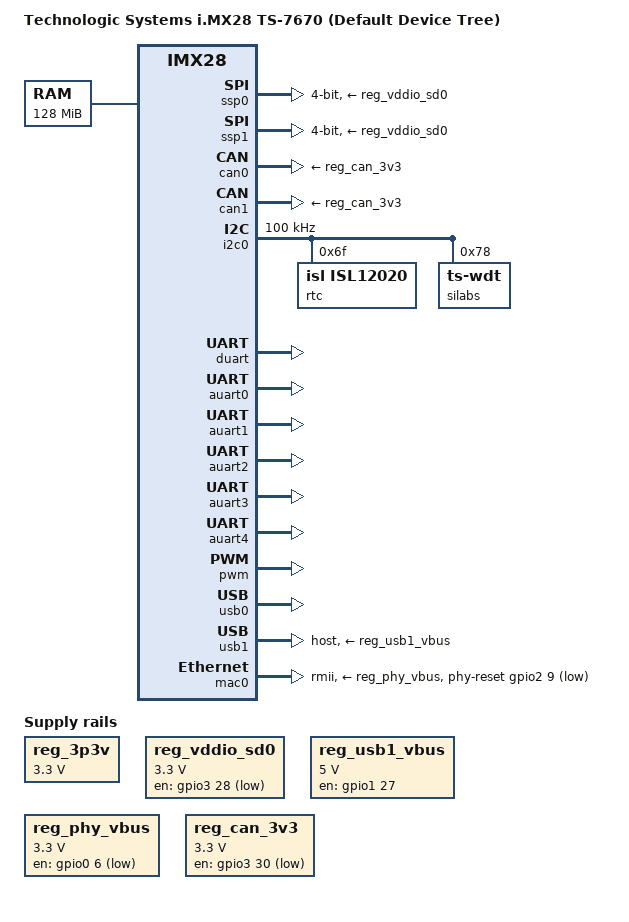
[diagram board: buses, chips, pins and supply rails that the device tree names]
/*
 * Copyright (C) 2012 Marek Vasut <marex@denx.de>
 *
 * The code contained herein is licensed under the GNU General Public
 * License. You may obtain a copy of the GNU General Public License
 * Version 2 or later at the following locations:
 *
 * http://www.opensource.org/licenses/gpl-license.html
 * http://www.gnu.org/copyleft/gpl.html
 */

/dts-v1/;
#include "imx28.dtsi"
#include "dt-bindings/gpio/gpio.h"
#include <dt-bindings/interrupt-controller/irq.h>

/ {

	model = "Technologic Systems i.MX28 TS-7670 (Default Device Tree)";
	compatible = "fsl,imx28-ts7670", "fsl,imx28";

   aliases {
      mmc0 = &ssp0;
      mmc2 = &ssp1;
      i2c0 = &i2c0;
      i2c1 = &i2c1_gpio;
      can0 = &can0;
      can1 = &can1;
   };

	memory {
		reg = <0x40000000 0x08000000>;   /* 128MB */
	};

	apb@80000000 {
		apbh@80000000 {
		
			ssp0: ssp@80010000 {
				compatible = "fsl,imx28-mmc";
				pinctrl-names = "default";
				pinctrl-0 = <&mmc0_4bit_pins_ts7670
					     &mmc0_sck_cfg
					     &en_sd_pwr>;
				broken-cd = <1>;	     
				bus-width = <4>;
				vmmc-supply = <&reg_vddio_sd0>;
				status = "okay";
			};

			ssp1: ssp@80012000 {      // For EMCC on SSP1
				compatible = "fsl,imx28-mmc";
				pinctrl-names = "default";
				pinctrl-0 = <&mmc1_4bit_pins
					     &en_sd_pwr>;
				broken-cd = <1>;	     
				bus-width = <4>;
				vmmc-supply = <&reg_vddio_sd0>;
				status = "okay";
			};
						
			
			pinctrl@80018000 {
				pinctrl-names = "default";
				
				en_sd_pwr: en_sd_pwr {
				   fsl,pinmux-ids = <
				      MX28_PAD_PWM3__GPIO_3_28   // EN_SD_POWER#
				   >;
				   fsl,drive-strength = <MXS_DRIVE_4mA>;
					fsl,voltage = <MXS_VOLTAGE_HIGH>;
					fsl,pull-up = <MXS_PULL_DISABLE>;				   
				};

				mmc0_4bit_pins_ts7670: mmc0-4bit@0 {
					reg = <0>;
					fsl,pinmux-ids = <
						MX28_PAD_SSP0_DATA0__SSP0_D0     // SD_D0
						MX28_PAD_SSP0_DATA1__SSP0_D1     // SD_D1
						MX28_PAD_SSP0_DATA2__SSP0_D2     // SD_D2
						MX28_PAD_SSP0_DATA3__SSP0_D3     // SD_D3
						MX28_PAD_SSP0_CMD__SSP0_CMD      // SD_CMD						
						MX28_PAD_SSP0_SCK__SSP0_SCK      // SD_CLK
					>;
					fsl,drive-strength = <MXS_DRIVE_8mA>;
					fsl,voltage = <MXS_VOLTAGE_HIGH>;
					fsl,pull-up = <MXS_PULL_ENABLE>;
				};

				mmc1_4bit_pins: mmc1-4bit@0 {
					reg = <0>;
					fsl,pinmux-ids = <
						MX28_PAD_GPMI_WRN__SSP1_SCK      // EMMC_CLK
						MX28_PAD_GPMI_RDY1__SSP1_CMD     // EMMC_CMD 
						MX28_PAD_GPMI_D00__SSP1_D0       // EMMC_D0
						MX28_PAD_GPMI_D01__SSP1_D1       // EMMC_D1
						MX28_PAD_GPMI_D02__SSP1_D2       // EMMC_d2
						MX28_PAD_GPMI_D03__SSP1_D3       // EMMC_D3
					>;
					fsl,drive-strength = <MXS_DRIVE_8mA>;
					fsl,voltage = <MXS_VOLTAGE_HIGH>;
					fsl,pull-up = <MXS_PULL_ENABLE>;
				};
				

				mmc_sck_cfg: mmc-sck-cfg {
					fsl,pinmux-ids = <
						MX28_PAD_SSP0_DATA7__SSP2_SCK
					>;
					fsl,drive-strength = <MXS_DRIVE_12mA>;
					fsl,pull-up = <MXS_PULL_DISABLE>;
				};
				
				mac0_pins_ts7670: mac0@0 {
					reg = <0>;
					fsl,pinmux-ids = <
					   MX28_PAD_ENET0_MDC__GPIO_4_0
					   MX28_PAD_ENET0_MDIO__GPIO_4_1
					   MX28_PAD_ENET0_RX_EN__ENET0_RX_EN
					   MX28_PAD_ENET0_RXD0__ENET0_RXD0
					   MX28_PAD_ENET0_RXD1__ENET0_RXD1
					   MX28_PAD_ENET0_TX_EN__ENET0_TX_EN
					   MX28_PAD_ENET0_TXD0__ENET0_TXD0
					   MX28_PAD_ENET0_TXD1__ENET0_TXD1
					   MX28_PAD_ENET_CLK__CLKCTRL_ENET
					   MX28_PAD_SSP0_DETECT__GPIO_2_9   // ETH_RESET#
				      MX28_PAD_GPMI_D06__GPIO_0_6      // EN_ETH_PWR#
					>;
					fsl,drive-strength = <MXS_DRIVE_8mA>;
					fsl,voltage = <MXS_VOLTAGE_HIGH>;
					fsl,pull-up = <MXS_PULL_ENABLE>;
				};

			  i2c1_gpio_pins: i2c1_gpio_pins@0 {			  
			     fsl,pinmux-ids = <
				      MX28_PAD_AUART0_RTS__GPIO_3_3   // E2_I2C_CLK
				      MX28_PAD_AUART0_CTS__GPIO_3_2   // E2_I2C_DAT
				   >;
				   fsl,drive-strength = <MXS_DRIVE_4mA>;
					fsl,voltage = <MXS_VOLTAGE_HIGH>;
					fsl,pull-up = <MXS_PULL_ENABLE>;				  
			  };				
			  
			  
			  spi_boot_pins_auart2: spi-boot-pins-auart2@0 {
			      reg = <0>;
					fsl,pinmux-ids = <
						MX28_PAD_SSP2_SCK__AUART2_RX
						MX28_PAD_SSP2_MOSI__AUART2_TX
					>;
					fsl,drive-strength = <MXS_DRIVE_4mA>;
					fsl,voltage = <MXS_VOLTAGE_HIGH>;
					fsl,pull-up = <MXS_PULL_DISABLE>;
			  };

			  spi_boot_pins_auart3: spi-boot-pins-auart3@0 {
			      reg = <0>;
					fsl,pinmux-ids = <
						MX28_PAD_SSP2_MISO__AUART3_RX
						MX28_PAD_SSP2_SS0__AUART3_TX
					>;
					fsl,drive-strength = <MXS_DRIVE_4mA>;
					fsl,voltage = <MXS_VOLTAGE_HIGH>;
					fsl,pull-up = <MXS_PULL_DISABLE>;
			  };

			  auart4_pins: auart4@0 {
			      reg = <0>;
					fsl,pinmux-ids = <
						MX28_PAD_SAIF0_BITCLK__AUART4_RX
						MX28_PAD_SAIF0_SDATA0__AUART4_TX
						>;
					fsl,drive-strength = <MXS_DRIVE_4mA>;
					fsl,voltage = <MXS_VOLTAGE_HIGH>;
					fsl,pull-up = <MXS_PULL_DISABLE>;
			  };

			  usbphy1_pins_ts7670: usbphy1@0 {
					reg = <0>;
					fsl,pinmux-ids = <
						MX28_PAD_LCD_CS__GPIO_1_27   // EN_USB_5V
					>;
					fsl,drive-strength = <MXS_DRIVE_12mA>;
					fsl,voltage = <MXS_VOLTAGE_HIGH>;
					fsl,pull-up = <MXS_PULL_DISABLE>;
				};
				
				can_enable_pins: can0_en_pin@0 {
				   reg = <0>;
					fsl,pinmux-ids = <
						MX28_PAD_LCD_RESET__GPIO_3_30   // EN_CAN#
					>;
					fsl,drive-strength = <MXS_DRIVE_8mA>;
					fsl,voltage = <MXS_VOLTAGE_HIGH>;
					fsl,pull-up = <MXS_PULL_DISABLE>;
				};
			};

			can0: can@80032000 {
				pinctrl-names = "default";
				pinctrl-0 = <&can0_pins_a
				   &can_enable_pins>;
				xceiver-supply = <&reg_can_3v3>;   
				status = "okay";
			};

			can1: can@80034000 {
				pinctrl-names = "default";
				pinctrl-0 = <&can1_pins_a>;
				xceiver-supply = <&reg_can_3v3>;
				status = "okay";
			};

		};

		apbx@80040000 {
			saif0: saif@80042000 {
				pinctrl-names = "default";
				pinctrl-0 = <&saif0_pins_a>;
				status = "disabled";
			};

			saif1: saif@80046000 {
				pinctrl-names = "default";
				pinctrl-0 = <&saif1_pins_a>;
				fsl,saif-master = <&saif0>;
				status = "disabled";
			};


			i2c0: i2c@80058000 {
				pinctrl-names = "default";
				pinctrl-0 = <&i2c0_pins_a>;
				clock-frequency = <100000>;
				status = "okay";

				rtc: isl12020@68 {
					compatible = "isl,isl12020";
					reg = <0x6f>;
				};

				silabs: silabs@78 {
					compatible = "ts-wdt";
					reg = <0x78>;
				};
		   };

			i2c1_gpio: i2c1_gpio@0 {
			   compatible = "i2c-gpio";
			   gpios = <&gpio3 2 0       // E2_I2C_DAT
			         &gpio3 3 0          // E2_I2C_CLK
			      >;
			   i2c-gpio,sda-open-drain;
			   i2c-gpio,scl-open-drain;
			   i2c-gpio,delay-us = <2>;	/* ~100 kHz */
			   i2c-gpio,timeout-ms = <500>; 
			   #address-cells = <1>;
			   #size-cells = <0>;			   
			   pinctrl-names = "default";
			   pinctrl-0 = <&i2c1_gpio_pins>;
			   status = "disabled";
				
			};
			
			duart: serial@80074000 {
				pinctrl-names = "default";
				pinctrl-0 = <&duart_pins_a>;
				status = "okay";
			};

			usbphy0: usbphy@8007c000 {
				status = "okay";
								
			};

			usbphy1: usbphy@8007e000 {
			   pinctrl-names = "default";
				pinctrl-0 = <&usbphy1_pins_ts7670>;
				status = "okay";
			};


			auart0: serial@8006a000 {
				pinctrl-names = "default";
				pinctrl-0 = <&auart0_pins_a>;
				status = "okay";
			};

			auart1: serial@8006c000 {
				pinctrl-names = "default";
				pinctrl-0 = <&auart1_pins_a>;
				status = "okay";
			};

			auart2: serial@8006e000 {
				pinctrl-names = "default";
				pinctrl-0 = <&spi_boot_pins_auart2>;
				status = "okay";
			};

			auart3: serial@80070000 {
				pinctrl-names = "default";
				pinctrl-0 = <&spi_boot_pins_auart3>;
				status = "okay";
			};

			auart4: serial@80072000 {
				pinctrl-names = "default";
				pinctrl-0 = <&auart4_pins>;
				status = "okay";
			};

			pwm: pwm@80064000 {
				pinctrl-names = "default";
				pinctrl-0 = <&pwm2_pins_a>;
				status = "okay";
			};
		};
	};

	ahb@80080000 {
	
	   usb0: usb@80080000 {
		   status = "okay";
	   };
	
		usb1: usb@80090000 {
			vbus-supply = <&reg_usb1_vbus>;		
			disable-over-current;
			dr_mode = "host";
			status = "okay";
		};

		mac0: ethernet@800f0000 {
			phy-mode = "rmii";
			pinctrl-names = "default";
			pinctrl-0 = <&mac0_pins_ts7670>;			      
			clocks = <&clks 57>, <&clks 57>, <&clks 64>;
			clock-names = "ipg", "ahb", "enet_out";
		 	phy-supply = <&reg_phy_vbus>;		
			phy-reset-gpios = <&gpio2 9 GPIO_ACTIVE_LOW>;
			phy-reset-duration = <1000>;
			status = "okay";

	      phy: ethernet@0 {	   
	         device_type = "network";	         				         	    
	         fixed-link = <0 1 100 0 0>;
	         };
		};
	};

	regulators {
		compatible = "simple-bus";

		reg_3p3v: 3p3v {
			compatible = "regulator-fixed";
			regulator-name = "3P3V";
			regulator-min-microvolt = <3300000>;
			regulator-max-microvolt = <3300000>;
			regulator-always-on;
		};
				
		reg_vddio_sd0: vddio-sd0 {
			compatible = "regulator-fixed";
			regulator-name = "vddio-sd0";
			regulator-min-microvolt = <3300000>;
			regulator-max-microvolt = <3300000>;
			regulator-boot-on;
			enable-active-low;
			gpio = <&gpio3 28 0>;      // EN_SD_PWR#
			};
		
		reg_usb1_vbus: usb1_vbus {
			compatible = "regulator-fixed";
			regulator-name = "usb1_vbus";
			regulator-min-microvolt = <5000000>;
			regulator-max-microvolt = <5000000>;
			gpio = <&gpio1 27 0>;      // EN_USB_5V
			enable-active-high;
			regulator-always-on;
		};
		
		reg_phy_vbus: phy_vbus {		
			compatible = "regulator-fixed";
			regulator-name = "phy-3v3";
			regulator-min-microvolt = <3300000>;
			regulator-max-microvolt = <3300000>;
			gpio = <&gpio0 6 0>;      // EN_ETH_PWR#
			enable-active-low;
			regulator-boot-on;
		};
		
		reg_can_3v3: can-3v3 {
			compatible = "regulator-fixed";
			regulator-name = "xceiver";
			regulator-min-microvolt = <3300000>;
			regulator-max-microvolt = <3300000>;
			gpio = <&gpio3 30 0>;      // EN_CAN#
			enable-active-low;
		};
	};
	

};


